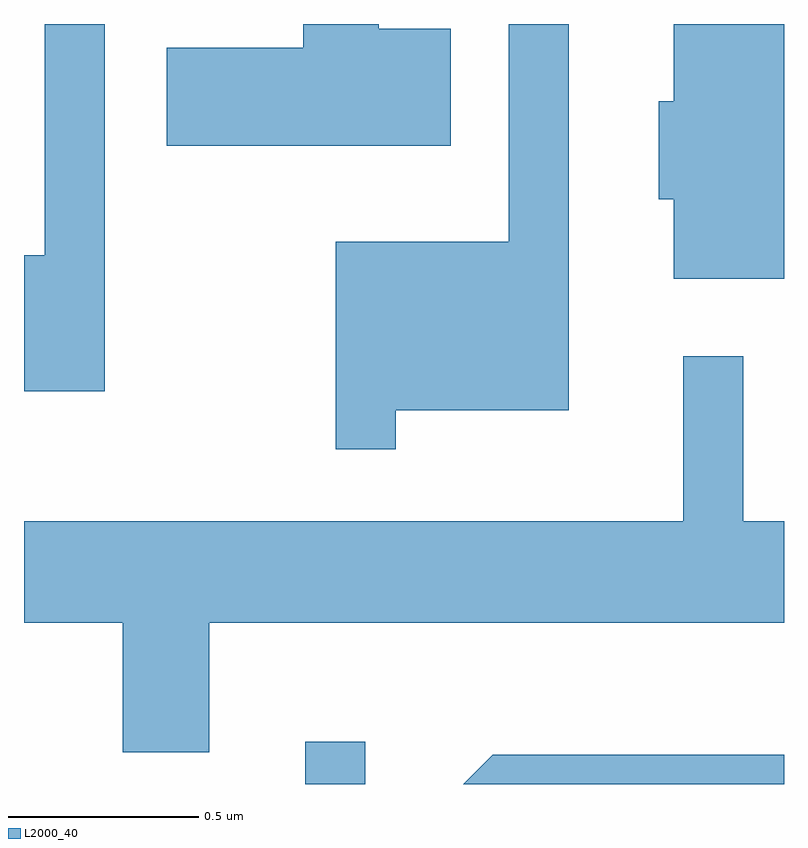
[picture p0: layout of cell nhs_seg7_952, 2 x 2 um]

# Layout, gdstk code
import gdstk
lib = gdstk.Library(unit=1e-6, precision=1e-09)
def R(c, l, rs):  # rectangles x0, y0, x1, y1
    for r in rs: c.add(gdstk.rectangle(r[:2], r[2:], *l))
def P(c, l, *ps):  # polygons
    for p in ps: c.add(gdstk.Polygon(p, *l))
L2000_40 = (2000, 40)

nhs_seg7_952 = lib.new_cell('nhs_seg7_952')
R(nhs_seg7_952, L2000_40, [(192.351,1798.252,192.509,1798.363)])
P(nhs_seg7_952, L2000_40, [(191.824,1800.252),(191.666,1800.252),(191.666,1799.644),(191.611,1799.644),(191.611,1799.286),(191.824,1799.286)],
  [(192.589,1799.236),(193.044,1799.236),(193.044,1800.252),(192.886,1800.252),(192.886,1799.679),(192.431,1799.679),(192.431,1799.133),(192.589,1799.133)],
  [(192.734,1800.239),(192.544,1800.239),(192.544,1800.252),(192.346,1800.252),(192.346,1800.189),(191.986,1800.189),(191.986,1799.931),(192.734,1799.931)],
  [(193.611,1800.252),(193.321,1800.252),(193.321,1800.049),(193.281,1800.049),(193.281,1799.791),(193.321,1799.791),(193.321,1799.581),(193.611,1799.581)],
  [(192.099,1798.676),(193.611,1798.676),(193.611,1798.944),(193.504,1798.944),(193.504,1799.378),(193.346,1799.378),(193.346,1798.944),(191.611,1798.944),(191.611,1798.676),(191.871,1798.676),(191.871,1798.336),(192.099,1798.336)],
  [(193.611,1798.329),(192.844,1798.329),(192.767,1798.252),(193.611,1798.252)])

lib.write_gds('nhs_seg7_952.gds')
